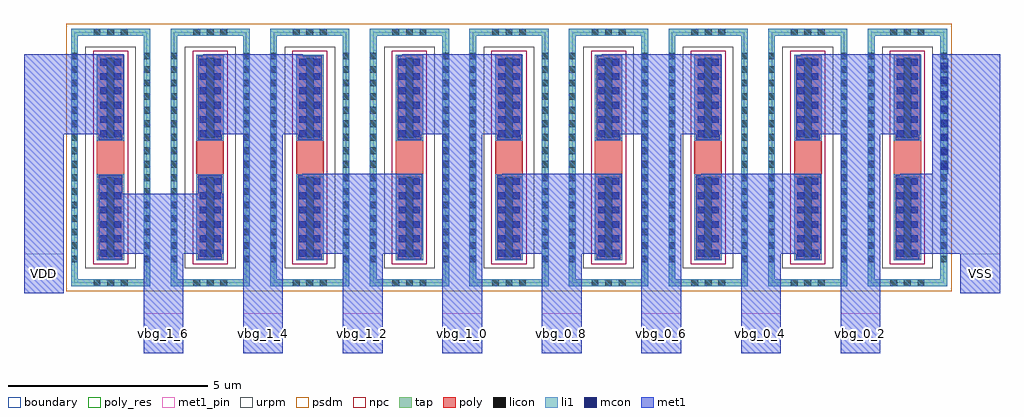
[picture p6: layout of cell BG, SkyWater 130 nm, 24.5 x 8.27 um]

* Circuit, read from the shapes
.subckt BG VDD VSS vbg_0_2 vbg_0_4 vbg_0_6 vbg_0_8 vbg_1_0 vbg_1_2 vbg_1_4 vbg_1_6
XR1 VDD vbg_1_6 VSS sky130_fd_pr__res_xhigh_po w=0.69 l=0.88
XR2 vbg_1_4 vbg_1_6 VSS sky130_fd_pr__res_xhigh_po w=0.69 l=0.88
XR3 vbg_1_4 vbg_1_2 VSS sky130_fd_pr__res_xhigh_po w=0.69 l=0.88
XR4 vbg_1_0 vbg_1_2 VSS sky130_fd_pr__res_xhigh_po w=0.69 l=0.88
XR5 vbg_1_0 vbg_0_8 VSS sky130_fd_pr__res_xhigh_po w=0.69 l=0.88
XR6 vbg_0_6 vbg_0_8 VSS sky130_fd_pr__res_xhigh_po w=0.69 l=0.88
XR7 vbg_0_6 vbg_0_4 VSS sky130_fd_pr__res_xhigh_po w=0.69 l=0.88
XR8 vbg_0_2 vbg_0_4 VSS sky130_fd_pr__res_xhigh_po w=0.69 l=0.88
XR9 vbg_0_2 VSS VSS sky130_fd_pr__res_xhigh_po w=0.69 l=0.88
.ends

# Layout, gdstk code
import gdstk
lib = gdstk.Library(unit=1e-6, precision=1e-09)
def R(c, l, rs):  # rectangles x0, y0, x1, y1
    for r in rs: c.add(gdstk.rectangle(r[:2], r[2:], *l))
def A(c, l, x, y, w, h, nx, ny, dx, dy):  # array of equal rectangles
    R(c, l, [(x+i*dx, y+j*dy, x+i*dx+w, y+j*dy+h) for i in range(nx) for j in range(ny)])
tap = (65, 44)
poly_res = (66, 13)
poly = (66, 20)
licon = (66, 44)
li1 = (67, 20)
mcon = (67, 44)
met1_pin = (68, 16)
met1 = (68, 20)
urpm = (79, 20)
psdm = (94, 20)
npc = (95, 20)
boundary = (235, 4)

sky130_fd_pr__res_xhigh_ = lib.new_cell('sky130_fd_pr__res_xhigh_po_0p69_87HR5C')
R(sky130_fd_pr__res_xhigh_, tap, [(-0.995,-3.23,0.995,-3.06), (-0.995,-3.06,-0.825,3.06), (0.825,-3.06,0.995,3.06), (-0.995,3.06,0.995,3.23)])
R(sky130_fd_pr__res_xhigh_, poly_res, [(-0.345,-0.5,0.345,0.5)])
R(sky130_fd_pr__res_xhigh_, poly, [(-0.345,-2.58,0.345,2.58)])
A(sky130_fd_pr__res_xhigh_, licon, -0.425, -3.23, 0.17, 0.17, 3, 2, 0.34, 6.29)
A(sky130_fd_pr__res_xhigh_, licon, -0.995, -2.635, 0.17, 0.17, 1, 16, 0, 0.34)
A(sky130_fd_pr__res_xhigh_, licon, 0.825, -2.635, 0.17, 0.17, 1, 16, 0, 0.34)
R(sky130_fd_pr__res_xhigh_, licon, [(-0.095,-2.5,0.095,-0.5), (-0.095,0.5,0.095,2.5)])
R(sky130_fd_pr__res_xhigh_, li1, [(-0.995,-3.23,0.995,-3.06), (-0.995,-3.06,-0.825,3.06), (0.825,-3.06,0.995,3.06), (-0.345,-2.58,0.345,-0.42), (-0.345,0.42,0.345,2.58), (-0.995,3.06,0.995,3.23)])
A(sky130_fd_pr__res_xhigh_, mcon, -0.265, -2.485, 0.17, 0.17, 1, 6, 0, 0.36)
A(sky130_fd_pr__res_xhigh_, mcon, 0.095, -2.485, 0.17, 0.17, 1, 6, 0, 0.36)
A(sky130_fd_pr__res_xhigh_, mcon, -0.265, 0.51, 0.17, 0.17, 1, 6, 0, 0.36)
A(sky130_fd_pr__res_xhigh_, mcon, 0.095, 0.51, 0.17, 0.17, 1, 6, 0, 0.36)
R(sky130_fd_pr__res_xhigh_, met1, [(-0.295,-2.55,0.295,-0.445), (-0.295,0.445,0.295,2.55)])
R(sky130_fd_pr__res_xhigh_, urpm, [(-0.635,-2.78,0.635,2.78)])
R(sky130_fd_pr__res_xhigh_, psdm, [(-1.12,-3.355,1.12,3.355)])
R(sky130_fd_pr__res_xhigh_, npc, [(-0.44,-2.675,0.44,2.675)])
R(sky130_fd_pr__res_xhigh_, boundary, [(-0.91,-3.145,0.91,3.145)])

c_bg = lib.new_cell('BG')
R(c_bg, li1, [(27,-6.5,27.2,-3.6)])
A(c_bg, mcon, 27.015, -6.395, 0.17, 0.17, 1, 8, 0, 0.36)
A(c_bg, met1_pin, 7, -11, 1, 1, 8, 1, 2.5, 0)
R(c_bg, met1_pin, [(4,-9.5,5,-8.5), (27.5,-9.5,28.5,-8.5)])
A(c_bg, met1, 7, -11, 1, 2.5, 4, 1, 5, 0)
A(c_bg, met1, 9.5, -11, 1, 5.5, 4, 1, 5, 0)
A(c_bg, met1, 11, -8.5, 3, 2, 3, 1, 5, 0)
A(c_bg, met1, 13.5, -5.5, 3, 2, 3, 1, 5, 0)
R(c_bg, met1, [(4,-9.5,5,-5.5), (27.5,-9.5,28.5,-8.5), (6,-8.5,9,-7), (26,-8.5,28.5,-6.5), (26.8,-6.5,28.5,-3.5), (4,-5.5,6.5,-3.5), (8.5,-5.5,11,-3.5)])
A(c_bg, psdm, 7.295, -9.445, 0.26, 6.71, 8, 1, 2.5, 0)
c_bg.add(gdstk.Reference(sky130_fd_pr__res_xhigh_, (26.175,-6.09)))
c_bg.add(gdstk.Reference(sky130_fd_pr__res_xhigh_, (23.675,-6.09)))
c_bg.add(gdstk.Reference(sky130_fd_pr__res_xhigh_, (21.175,-6.09)))
c_bg.add(gdstk.Reference(sky130_fd_pr__res_xhigh_, (18.675,-6.09)))
c_bg.add(gdstk.Reference(sky130_fd_pr__res_xhigh_, (16.175,-6.09)))
c_bg.add(gdstk.Reference(sky130_fd_pr__res_xhigh_, (13.675,-6.09)))
c_bg.add(gdstk.Reference(sky130_fd_pr__res_xhigh_, (11.175,-6.09)))
c_bg.add(gdstk.Reference(sky130_fd_pr__res_xhigh_, (8.675,-6.09)))
c_bg.add(gdstk.Reference(sky130_fd_pr__res_xhigh_, (6.175,-6.09)))
c_bg.add(gdstk.Label('vbg_1_6', (7.5,-10.5), layer=68, texttype=5))
c_bg.add(gdstk.Label('vbg_1_4', (10,-10.5), layer=68, texttype=5))
c_bg.add(gdstk.Label('vbg_1_2', (12.5,-10.5), layer=68, texttype=5))
c_bg.add(gdstk.Label('vbg_1_0', (15,-10.5), layer=68, texttype=5))
c_bg.add(gdstk.Label('vbg_0_8', (17.5,-10.5), layer=68, texttype=5))
c_bg.add(gdstk.Label('vbg_0_6', (20,-10.5), layer=68, texttype=5))
c_bg.add(gdstk.Label('vbg_0_4', (22.5,-10.5), layer=68, texttype=5))
c_bg.add(gdstk.Label('vbg_0_2', (25,-10.5), layer=68, texttype=5))
c_bg.add(gdstk.Label('VDD', (4.5,-9), layer=68, texttype=5))
c_bg.add(gdstk.Label('VSS', (28,-9), layer=68, texttype=5))

lib.write_gds('BG.gds')
